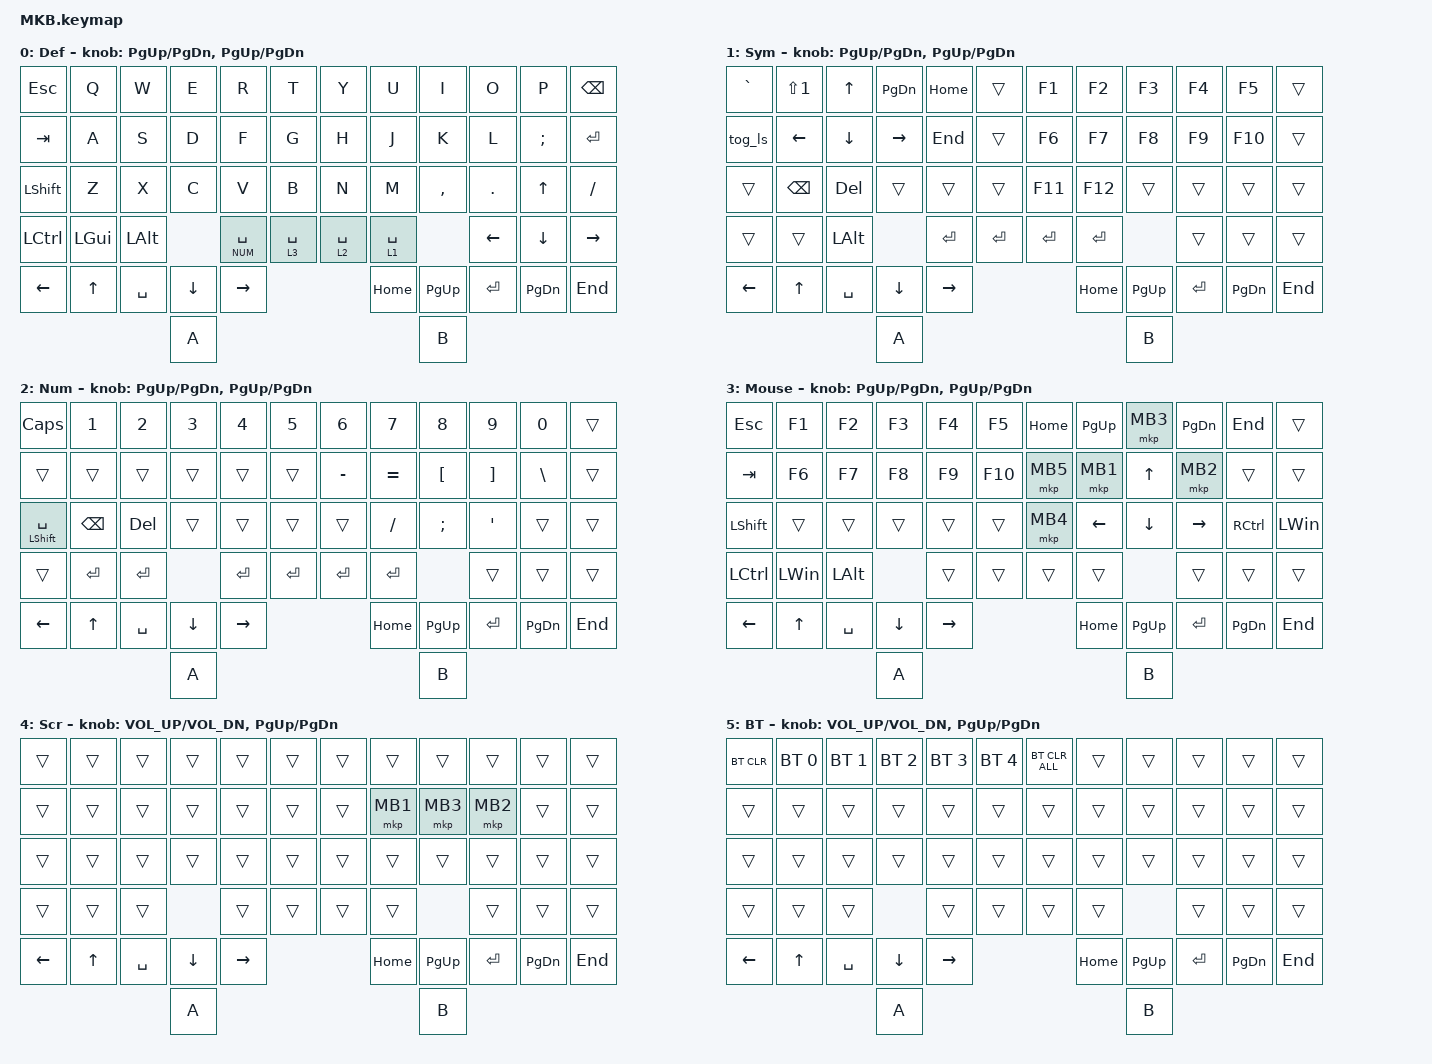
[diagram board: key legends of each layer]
// #include <layout_shift.dtsi>

#include <layout_shift_kp_override.dtsi>
#include <behaviors.dtsi>
#include <dt-bindings/zmk/bt.h>
#include <dt-bindings/zmk/keys.h>
#include <dt-bindings/zmk/pointing.h>

#define DEF 0
#define FUNC 1
#define NUM 2
#define MOUSE 3
#define SCROLL 4
#define BT 5

&mt {
    flavor = "balanced";
    tapping-term-ms = <280>;
    quick-tap-ms = <175>;
    require-prior-idle-ms = <150>;
};

/ {
    keymap {
        compatible = "zmk,keymap";

        default_layer {
            label = "Def";
            bindings = <
&kp ESC    &kp Q     &kp W      &kp E     &kp R          &kp T            &kp Y        &kp U        &kp I      &kp O      &kp P      &kp BACKSPACE
&kp TAB    &kp A     &kp S      &kp D     &kp F          &kp G            &kp H        &kp J        &kp K      &kp L      &kp SEMI   &kp ENTER
&kp LSHFT  &kp Z     &kp X      &kp C     &kp V          &kp B            &kp N        &kp M        &kp COMMA  &kp DOT    &kp UP     &kp FSLH
&kp LCTRL  &kp LGUI  &kp LALT             &lt NUM SPACE  &lt 3 SPACE      &lt 2 SPACE  &lt 1 SPACE             &kp LEFT   &kp DOWN   &kp RIGHT
&kp LEFT   &kp UP    &kp SPACE  &kp DOWN  &kp RIGHT                                    &kp HOME     &kp PG_UP  &kp ENTER  &kp PG_DN  &kp END
                                &kp A                                                               &kp B
            >;

            sensor-bindings =
                <&inc_dec_kp PAGE_UP PAGE_DOWN>,
                <&inc_dec_kp PG_UP PG_DN>;
        };

        symbol_layer {
            label = "Sym";
            bindings = <
&kp GRAVE  &kp LS(N1)  &kp UP     &kp PG_DN  &kp HOME   &trans         &kp F1     &kp F2     &kp F3     &kp F4     &kp F5     &trans
&tog_ls    &kp LEFT    &kp DOWN   &kp RIGHT  &kp END    &trans         &kp F6     &kp F7     &kp F8     &kp F9     &kp F10    &trans
&trans     &kp BKSP    &kp DEL    &trans     &trans     &trans         &kp F11    &kp F12    &trans     &trans     &trans     &trans
&trans     &trans      &kp LALT              &kp ENTER  &kp ENTER      &kp ENTER  &kp ENTER             &trans     &trans     &trans
&kp LEFT   &kp UP      &kp SPACE  &kp DOWN   &kp RIGHT                            &kp HOME   &kp PG_UP  &kp ENTER  &kp PG_DN  &kp END
                                  &kp A                                                      &kp B
            >;

            sensor-bindings =
                <&inc_dec_kp PAGE_UP PAGE_DOWN>,
                <&inc_dec_kp PG_UP PG_DN>;
        };

        num_layer {
            label = "Num";
            bindings = <
&kp CAPS         &kp N1         &kp N2     &kp N3    &kp N4     &kp N5         &kp N6     &kp N7     &kp N8     &kp N9     &kp N0     &trans
&trans           &trans         &trans     &trans    &trans     &trans         &kp MINUS  &kp EQUAL  &kp LBKT   &kp RBKT   &kp BSLH   &trans
&mt LSHFT SPACE  &kp BACKSPACE  &kp DEL    &trans    &trans     &trans         &trans     &kp FSLH   &kp SEMI   &kp SQT    &trans     &trans
&trans           &kp ENTER      &kp ENTER            &kp ENTER  &kp ENTER      &kp ENTER  &kp ENTER             &trans     &trans     &trans
&kp LEFT         &kp UP         &kp SPACE  &kp DOWN  &kp RIGHT                            &kp HOME   &kp PG_UP  &kp ENTER  &kp PG_DN  &kp END
                                           &kp A                                                     &kp B
            >;

            sensor-bindings =
                <&inc_dec_kp PAGE_UP PAGE_DOWN>,
                <&inc_dec_kp PG_UP PG_DN>;
        };

        mouse_layer {
            label = "Mouse";
            bindings = <
&kp ESC         &kp F1        &kp F2        &kp F3    &kp F4     &kp F5       &kp HOME  &kp PAGE_UP  &mkp MB3   &kp PAGE_DOWN  &kp END    &trans
&kp TAB         &kp F6        &kp F7        &kp F8    &kp F9     &kp F10      &mkp MB5  &mkp MB1     &kp UP     &mkp MB2       &trans     &trans
&kp LEFT_SHIFT  &trans        &trans        &trans    &trans     &trans       &mkp MB4  &kp LEFT     &kp DOWN   &kp RIGHT      &kp RCTRL  &kp LEFT_WIN
&kp LCTRL       &kp LEFT_WIN  &kp LEFT_ALT            &trans     &trans       &trans    &trans                  &trans         &trans     &trans
&kp LEFT        &kp UP        &kp SPACE     &kp DOWN  &kp RIGHT                         &kp HOME     &kp PG_UP  &kp ENTER      &kp PG_DN  &kp END
                                            &kp A                                                    &kp B
            >;

            sensor-bindings =
                <&inc_dec_kp PAGE_UP PAGE_DOWN>,
                <&inc_dec_kp PG_UP PG_DN>;
        };

        scroll_layer {
            label = "Scr";
            bindings = <
&trans    &trans  &trans     &trans    &trans     &trans      &trans  &trans    &trans     &trans     &trans     &trans
&trans    &trans  &trans     &trans    &trans     &trans      &trans  &mkp MB1  &mkp MB3   &mkp MB2   &trans     &trans
&trans    &trans  &trans     &trans    &trans     &trans      &trans  &trans    &trans     &trans     &trans     &trans
&trans    &trans  &trans               &trans     &trans      &trans  &trans               &trans     &trans     &trans
&kp LEFT  &kp UP  &kp SPACE  &kp DOWN  &kp RIGHT                      &kp HOME  &kp PG_UP  &kp ENTER  &kp PG_DN  &kp END
                             &kp A                                              &kp B
            >;

            sensor-bindings = <&inc_dec_kp C_VOL_UP C_VOL_DN &inc_dec_kp PG_UP PG_DN>;
        };

        bt_layer {
            label = "BT";
            bindings = <
&bt BT_CLR  &bt BT_SEL 0  &bt BT_SEL 1  &bt BT_SEL 2  &bt BT_SEL 3  &bt BT_SEL 4      &bt BT_CLR_ALL  &trans    &trans     &trans     &trans     &trans
&trans      &trans        &trans        &trans        &trans        &trans            &trans          &trans    &trans     &trans     &trans     &trans
&trans      &trans        &trans        &trans        &trans        &trans            &trans          &trans    &trans     &trans     &trans     &trans
&trans      &trans        &trans                      &trans        &trans            &trans          &trans               &trans     &trans     &trans
&kp LEFT    &kp UP        &kp SPACE     &kp DOWN      &kp RIGHT                                       &kp HOME  &kp PG_UP  &kp ENTER  &kp PG_DN  &kp END
                                        &kp A                                                                   &kp B
            >;

            sensor-bindings = <&inc_dec_kp C_VOL_UP C_VOL_DN &inc_dec_kp PG_UP PG_DN>;
        };
    };
};
